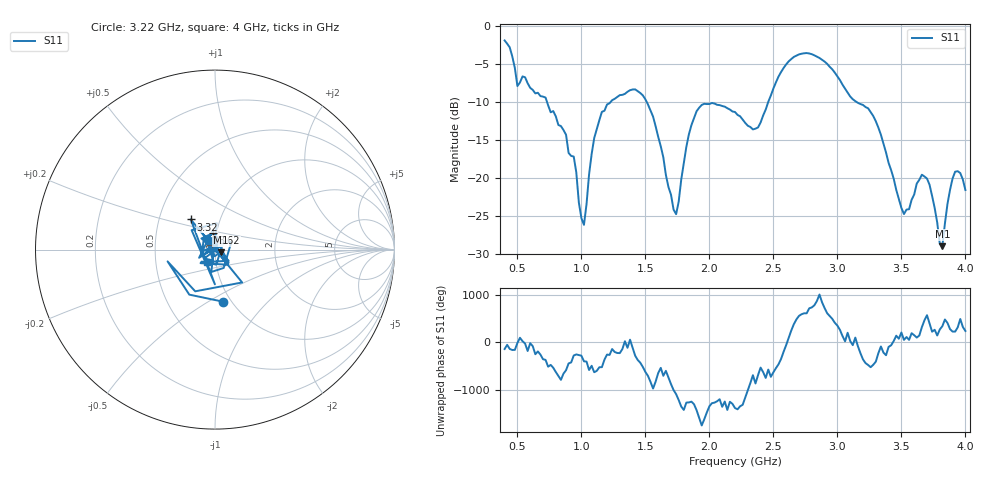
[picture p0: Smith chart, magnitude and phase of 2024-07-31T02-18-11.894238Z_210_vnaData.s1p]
!Created with skrf (http://scikit-rf.org).
# Hz S RI R 50.0
!freq ReS11 ImS11
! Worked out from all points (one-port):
!   181 points, 400 MHz to 4 GHz, reference 50 ohm
!   lowest |S11| = -28.9 dB at 3.82 GHz (marker M1), VSWR 1.07, Z = 53.4 - j1.54 ohm
!   |S11| at or under -10 dB: 732.3 MHz to 1.226 GHz (493.5 MHz wide, 50.4 % of centre); 1.512 GHz to 2.459 GHz (946.8 MHz wide, 47.7 % of centre); 3.154 GHz to end of sweep
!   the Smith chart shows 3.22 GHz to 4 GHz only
!   S11 on the Smith chart (normalised r, x): 3.22 GHz: 0.92, -0.59; 3.32 GHz: 0.72, +0.26; 3.62 GHz: 0.96, +0.18; 4 GHz: 0.90, -0.13
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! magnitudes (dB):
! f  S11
! 400 MHz  -1.9
! 500 MHz  -7.9
! 560 MHz  -6.7
! 860 MHz  -13.6
! 940 MHz  -17.1
! 1.02 GHz  -26.1
! 1.1 GHz  -14.7
! 1.16 GHz  -11.3
! 1.3 GHz  -9.0
! 1.5 GHz  -9.6
! 1.72 GHz  -24.1
! 1.76 GHz  -23.1
! 1.82 GHz  -15.8
! 1.9 GHz  -11.2
! 2.2 GHz  -11.3
! 2.38 GHz  -13.3
! 2.66 GHz  -4.0
! 2.86 GHz  -4.2
! 3.1 GHz  -9.2
! 3.22 GHz  -10.6
! 3.32 GHz  -13.3
! 3.5 GHz  -23.9
! 3.56 GHz  -24.1
! 3.62 GHz  -20.7
! 3.72 GHz  -20.9
! 3.82 GHz  -28.9
! 3.92 GHz  -19.1
! 4 GHz  -21.5
